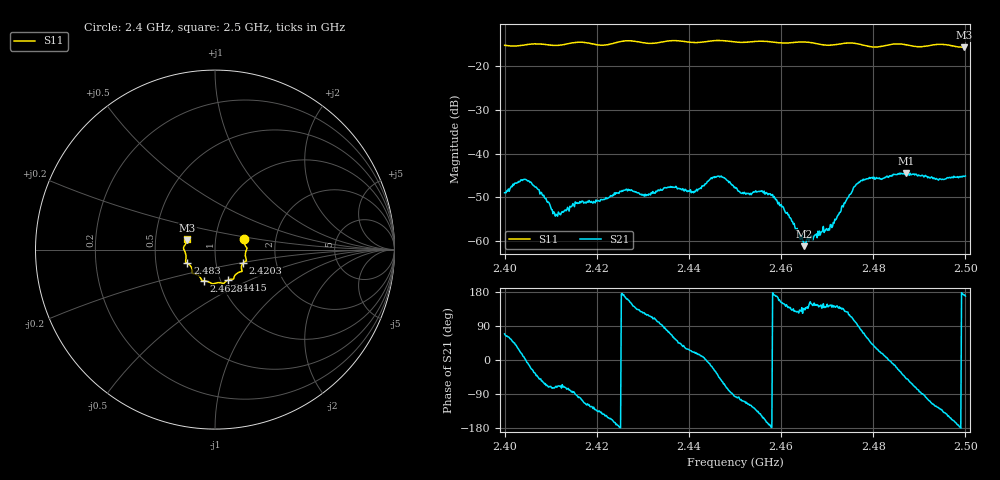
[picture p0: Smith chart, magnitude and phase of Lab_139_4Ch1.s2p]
# Hz S RI R 50
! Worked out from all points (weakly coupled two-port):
!   601 points, 2.4 GHz to 2.5 GHz, reference 50 ohm
!   highest |S21| = -44.41 dB at 2.4872 GHz (marker M1); lowest = -61.1 dB at 2.465 GHz (marker M2)
!   lowest |S11| = -15.7 dB at 2.4997 GHz (marker M3), VSWR 1.39, Z = 36.4 + j4 ohm
!   |S11| at or under -10 dB: start of sweep to end of sweep
!   S12 and S22 are empty: the file has one direction only
!   S11 on the Smith chart (normalised r, x): 2.4 GHz: 1.38, +0.16; 2.4203 GHz: 1.35, -0.21; 2.4415 GHz: 1.09, -0.38; 2.4628 GHz: 0.83, -0.30; 2.483 GHz: 0.73, -0.11; 2.5 GHz: 0.73, +0.09
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2.4e9  0.1618 0.0566  0.00129 0.00334  0 0  0 0
2.404833e9  0.1738 0.0145  0.00493 -0.000559  0 0  0 0
2.411e9  0.1694 -0.0208  0.000635 -0.00183  0 0  0 0
2.416667e9  0.1754 -0.0619  -0.000689 -0.00274  0 0  0 0
2.420333e9  0.156 -0.0748  -0.00211 -0.002  0 0  0 0
2.426e9  0.1509 -0.119  -0.00374 0.000798  0 0  0 0
2.430667e9  0.1272 -0.1296  -0.00169 0.00283  0 0  0 0
2.433333e9  0.1085 -0.148  -0.000699 0.00379  0 0  0 0
2.4415e9  0.0731 -0.169  0.00355 0.00127  0 0  0 0
2.4465e9  0.0478 -0.1886  0.00389 -0.00396  0 0  0 0
2.45e9  0.0299 -0.1845  -0.000455 -0.00411  0 0  0 0
2.458e9  -0.0237 -0.1856  -0.00338 -0.000124  0 0  0 0
2.462833e9  -0.0623 -0.1743  -0.00099 0.00125  0 0  0 0
2.465e9  -0.0715 -0.1729  -0.000635 0.000609  0 0  0 0
2.466667e9  -0.0752 -0.1674  -0.000979 0.000622  0 0  0 0
2.470667e9  -0.0983 -0.1411  -0.00125 0.000905  0 0  0 0
2.476833e9  -0.1255 -0.1254  9.89e-05 0.0047  0 0  0 0
2.483e9  -0.1541 -0.0763  0.00551 0.000574  0 0  0 0
2.483333e9  -0.1563 -0.0751  0.00536 -1.35e-05  0 0  0 0
2.487167e9  -0.1632 -0.0595  0.00389 -0.00459  0 0  0 0
2.499667e9  -0.1543 0.0534  -0.00543 0.000827  0 0  0 0
2.5e9  -0.1536 0.0578  -0.00546 0.00109  0 0  0 0
